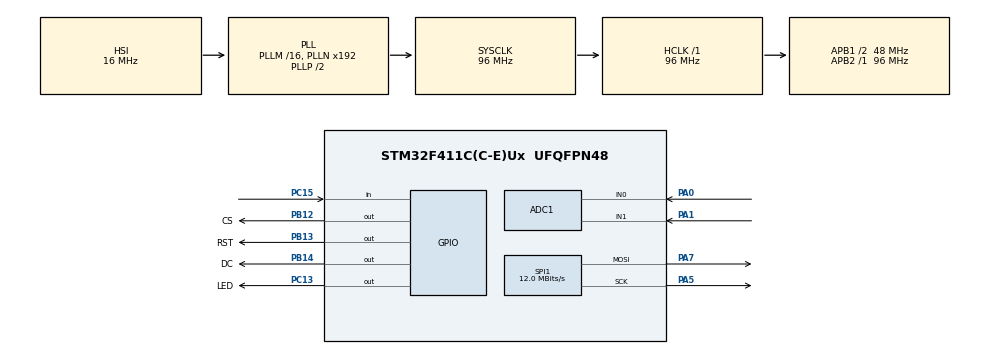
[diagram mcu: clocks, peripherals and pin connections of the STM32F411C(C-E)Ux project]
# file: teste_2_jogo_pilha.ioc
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ADC1.Channel-10\#ChannelRegularConversion=ADC_CHANNEL_1
ADC1.ContinuousConvMode=ENABLE
ADC1.DMAContinuousRequests=ENABLE
ADC1.DiscontinuousConvMode=DISABLE
ADC1.NbrOfConversion=2
ADC1.NbrOfConversionFlag=1
ADC1.Rank-10\#ChannelRegularConversion=2
ADC1.SamplingTime-10\#ChannelRegularConversion=ADC_SAMPLETIME_480CYCLES
ADC1.SamplingTime-7\#ChannelRegularConversion=ADC_SAMPLETIME_480CYCLES
ADC1.master=1
Dma.ADC1.0.Direction=DMA_PERIPH_TO_MEMORY
Dma.ADC1.0.FIFOMode=DMA_FIFOMODE_DISABLE
Dma.ADC1.0.Instance=DMA2_Stream0
Dma.ADC1.0.MemDataAlignment=DMA_MDATAALIGN_HALFWORD
Dma.ADC1.0.MemInc=DMA_MINC_ENABLE
Dma.ADC1.0.Mode=DMA_CIRCULAR
Dma.ADC1.0.PeriphDataAlignment=DMA_PDATAALIGN_HALFWORD
Dma.ADC1.0.PeriphInc=DMA_PINC_DISABLE
Dma.ADC1.0.Priority=DMA_PRIORITY_LOW
Dma.Request0=ADC1
FREERTOS.Tasks01=defaultTask,24,128,StartDefaultTask,Default,NULL,Dynamic,NULL,NULL
FREERTOS.configUSE_NEWLIB_REENTRANT=1
Mcu.Family=STM32F4
Mcu.Name=STM32F411C(C-E)Ux
Mcu.Package=UFQFPN48
NVIC.DMA2_Stream0_IRQn=true\:5\:0\:false\:false\:true\:true\:false\:true\:true
NVIC.PriorityGroup=NVIC_PRIORITYGROUP_4
NVIC.TIM4_IRQn=true\:15\:0\:false\:false\:true\:false\:false\:true\:true
NVIC.TimeBase=TIM4_IRQn
NVIC.TimeBaseIP=TIM4
PA0-WKUP.Signal=ADCx_IN0
PA1.Signal=ADCx_IN1
PA13.Mode=Serial_Wire
PA13.Signal=SYS_JTMS-SWDIO
PA14.Mode=Serial_Wire
PA14.Signal=SYS_JTCK-SWCLK
PA5.Mode=TX_Only_Simplex_Unidirect_Master
PA5.Signal=SPI1_SCK
PA7.Mode=TX_Only_Simplex_Unidirect_Master
PA7.Signal=SPI1_MOSI
PB12.GPIO_Label=CS
PB12.Signal=GPIO_Output
PB13.GPIO_Label=RST
PB13.Signal=GPIO_Output
PB14.GPIO_Label=DC
PB14.Signal=GPIO_Output
PC13-ANTI_TAMP.GPIO_Label=LED
PC13-ANTI_TAMP.Signal=GPIO_Output
PC15-OSC32_OUT.GPIO_PuPd=GPIO_PULLUP
PC15-OSC32_OUT.Signal=GPIO_Input
PH0\ -\ OSC_IN.Mode=HSE-External-Oscillator
PH0\ -\ OSC_IN.Signal=RCC_OSC_IN
PH1\ -\ OSC_OUT.Mode=HSE-External-Oscillator
PH1\ -\ OSC_OUT.Signal=RCC_OSC_OUT
ProjectManager.HeapSize=0x200
ProjectManager.StackSize=0x400
ProjectManager.TargetToolchain=STM32CubeIDE
RCC.48MHZClocksFreq_Value=48000000
RCC.AHBFreq_Value=96000000
RCC.APB1CLKDivider=RCC_HCLK_DIV2
RCC.APB1Freq_Value=48000000
RCC.APB1TimFreq_Value=96000000
RCC.APB2Freq_Value=96000000
RCC.APB2TimFreq_Value=96000000
RCC.CortexFreq_Value=96000000
RCC.HCLKFreq_Value=96000000
RCC.HSE_VALUE=25000000
RCC.HSI_VALUE=16000000
RCC.LSE_VALUE=32768
RCC.SYSCLKFreq_VALUE=96000000
RCC.SYSCLKSource=RCC_SYSCLKSOURCE_PLLCLK
RCC.VCOOutputFreq_Value=192000000
SH.ADCx_IN0.0=ADC1_IN0,IN0
SH.ADCx_IN1.0=ADC1_IN1,IN1
SPI1.BaudRatePrescaler=SPI_BAUDRATEPRESCALER_8
SPI1.CalculateBaudRate=12.0 MBits/s
SPI1.Direction=SPI_DIRECTION_2LINES
SPI1.Mode=SPI_MODE_MASTER
SPI1.VirtualType=VM_MASTER
VP_FREERTOS_VS_CMSIS_V2.Mode=CMSIS_V2
VP_SYS_VS_tim4.Mode=TIM4
board=custom

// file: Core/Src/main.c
/* USER CODE BEGIN Header */
/**
  ******************************************************************************
  * @file           : main.c
  * @brief          : LucasRoide
  */
/* USER CODE END Header */
#include "main.h"
#include "cmsis_os.h"

/* USER CODE BEGIN Includes */
#include "queue.h"
#include "semphr.h"
#include <string.h>
#include <stdlib.h>
#include "stdio.h"
#include "atraso.h"
#include "defPrincipais.h"
#include "st7735.h"
#include "PRNG_LFSR.h"
#include "st7735.h"

/* USER CODE END Includes */

/* USER CODE BEGIN PD */
#define NR_ITENS_DISPLAY 8
#define NR_CAMADAS_DISPLAY 3
#define NR_MAX_ASTEROIDE 4
#define NR_TASKS_USANDO_TEMPO 3
#define PASSO_DE_TEMPO 20                                  // em millissegundos
#define NR_MAX_ITENS_COLIDIDOS  16                        // fazer par
#define MENSAGEM_ASTEROIDE_EXPLOSAO 255
/* USER CODE END PD */

ADC_HandleTypeDef hadc1;
DMA_HandleTypeDef hdma_adc1;

SPI_HandleTypeDef hspi1;

TaskHandle_t tarefa_placar_vida;
TaskHandle_t tarefa_display;
TaskHandle_t tarefa_mov_nave;
TaskHandle_t tarefa_mov_aste;
TaskHandle_t tarefa_mov_tiro;
TaskHandle_t tarefa_contar_tempo;
TaskHandle_t tarefa_colisao;

QueueHandle_t fila_tempo;
QueueHandle_t fila_movimento;
QueueHandle_t fila_movimento_deletar;
QueueHandle_t fila_colisao;
QueueHandle_t fila_obj_Nave;
QueueHandle_t fila_obj_Tiro;
QueueHandle_t fila_obj_Asteroide;
QueueHandle_t fila_asteroide_atingido;
QueueHandle_t fila_tiro_antigiu;
QueueHandle_t fila_pontuacao;

SemaphoreHandle_t semaforo_nave_explode;
SemaphoreHandle_t semaforo_nave_bate;
SemaphoreHandle_t semaforo_nave_mudou_sprite;
SemaphoreHandle_t semaforo_jogador_ganhou_ponto;
SemaphoreHandle_t semaforo_uso_display;

/* Definitions for defaultTask */
osThreadId_t defaultTaskHandle;
const osThreadAttr_t defaultTask_attributes = {
  .name = "defaultTask",
  .stack_size = 128,
  .priority = (osPriority_t) osPriorityNormal,
};

/* USER CODE BEGIN PV */

/*
 * todas as structs usadas
 */

typedef struct {
	FigDef figura;
	int16_t posicao[2];
	int16_t pos_anterior[2];
	uint32_t cor;
	uint8_t camada;
	uint8_t id;

} display;

// enum flags fila display texto e numero
enum {
	texto,
	numero,
	texto_e_numero
};

// enum de loop de jogo
enum {
	Primeiro_Estado,
	Segundo_Estado,
	Terceiro_Estado
};

// enum de mensagens do jogo
enum {
	Nave_obj,
	Asteroide_1_obj,
	Asteroide_2_obj,
	Asteroide_3_obj,
	Asteroide_4_obj,
	Tiro_vertical_obj,
	Tiro_horizontal_obj,
	Vida_Nave_texto
};

// enum tiro posições (mudar isso porque foi uma péssima ideia fazer desse jeito!!!!)
enum {
	horizontal_positivo,
	horizontal_negativo,
	vertical_positivo,
	vertical_negativo
};

//enum basico
enum {
	falso,
	verdadeiro
};

typedef struct {
	uint8_t vida_nave;
	display Nave_display;
	uint8_t direcao;
} Nave_Struct;

// Tiro implementado com coordenadas (futuramente ajeitar, não foi melhor escolha)
typedef struct {
	uint8_t dano;
	display Tiro_display[2];  				// tiro horizontal e vertical
	uint8_t tiro_tela[2];     				// [0] -> horizontal, [1] -> vertical  | 0 ou 1

	// [0] -> horizontal, [1] -> vertical  | enum horizontal_positivo, horizontal_negativo, vertical_positivo, vertical_negativo
	uint8_t tiro_tela_direcao[2];
	// problemas ao apagar tiro da tela, não faço ideia de como resolvi, mas ta funcionando... (o problema era que não apaga na borda superior quando,
	// trocava o sentido da nave)
} Tiro_Struct;

typedef struct {
	uint8_t vida;
	uint8_t dano;
	uint8_t habilitado;
	int8_t  velocidade[2];
	display Asteroide_display;
} Asteroide_Struct;

// display zerado, usado quando se quer deletar alguma imagem da tela
display zero_tela_; // jeito de arrumar aquele problema de ficar bala no canto da tela!!!

Asteroide_Struct Asteroides[NR_MAX_ASTEROIDE];
Nave_Struct Nave;

uint16_t ADC_buffer[2];
uint16_t valor_ADC[2];

/* USER CODE END PV */

void SystemClock_Config(void);
static void MX_GPIO_Init(void);
static void MX_DMA_Init(void);
static void MX_SPI1_Init(void);
static void MX_ADC1_Init(void);
void StartDefaultTask(void *argument);

/* USER CODE BEGIN 0 */

// Função para pegar valor do buffer do joystick
void HAL_ADC_ConvCpltCallback(ADC_HandleTypeDef *hadc){
	    valor_ADC[0] = ADC_buffer[0];
		valor_ADC[1] = ADC_buffer[1];
}

// funções principais das etapas do jogo.
void TelaInicial();
uint16_t Jogar();
void Tela_de_Morte(uint16_t);

// funções auxiliares
void vTask_Placar_Vida();
void vTask_Contar_Tempo();
void Asteroide_Construtor_Basico(Asteroide_Struct *, uint8_t);

void vTask_Contar_Tempo() // Contador de tempo para controle do jogo
{
	while(1)
	{
		for (uint8_t nr_tasks = 0; nr_tasks < NR_TASKS_USANDO_TEMPO; nr_tasks++){
			xQueueSendToBack(fila_tempo,&nr_tasks,0);
		};
		vTaskDelay(PASSO_DE_TEMPO);
	}
}

void vTask_Display(void *pvParameters)
{
	display figura_em_display;
	uint8_t figura_em_display_deletar;

	BaseType_t status_imprimir_objetos;
	BaseType_t status_deletar_objetos;

	int figuras_em_tela[NR_ITENS_DISPLAY] = {0,0,0,0,0,0};
	display figuras_em_tela_display[NR_ITENS_DISPLAY] = {0};

	int16_t pos_figura_x;
	int16_t largura_figura;
	int16_t tamanho_figura_x;

	int16_t pos_figura_y;
	int16_t altura_figura;
	int16_t tamanho_figura_y;

	portTickType xLastWakeTime;
	xLastWakeTime = xTaskGetTickCount();

	while(1)
	{
		xSemaphoreTake(semaforo_uso_display,portMAX_DELAY);  // <- gambiarra para não colocar outra estrutura só para texto, "depois" arrumo
		status_imprimir_objetos = xQueueReceive(fila_movimento,&figura_em_display,0);
		status_deletar_objetos = xQueueReceive(fila_movimento_deletar,&figura_em_display_deletar,0);

		while (status_imprimir_objetos == pdPASS)
		{
			if(figuras_em_tela[figura_em_display.id] == 0)
			{
				figuras_em_tela[figura_em_display.id] = 1;
				figuras_em_tela_display[figura_em_display.id] = figura_em_display;
			}

			//apagar a anterior
			if(figura_em_display.posicao[0] < 0)
			{
				figura_em_display.posicao[0] = 0;
			}
			if(figura_em_display.posicao[1] < 0)
			{
				figura_em_display.posicao[1] = 0;
			}

			if(figura_em_display.pos_anterior[0] < 0)
			{
				figura_em_display.pos_anterior[0] = 0;
			}
			if(figura_em_display.pos_anterior[1] < 0)
			{
				figura_em_display.pos_anterior[1] = 0;
			}

			ST7735_FillRectangle((uint16_t)figura_em_display.pos_anterior[0], (uint16_t)figura_em_display.pos_anterior[1], (uint16_t)figura_em_display.figura.width, (uint16_t)figura_em_display.figura.height, ST7735_BLACK);

			ST7735_draw_figure((uint32_t)figura_em_display.posicao[0], (uint32_t)figura_em_display.posicao[1], figura_em_display.figura, figura_em_display.cor);

			// atualiza a antiga imagem do diplay
			figuras_em_tela_display[figura_em_display.id] = figura_em_display;

			pos_figura_x = figura_em_display.posicao[0];
			largura_figura = (int16_t)figura_em_display.figura.width;
			tamanho_figura_x = (pos_figura_x + largura_figura);

			pos_figura_y = figura_em_display.posicao[1];
			altura_figura = (int16_t)figura_em_display.figura.height;
			tamanho_figura_y = (pos_figura_y + altura_figura);

			for (int camada = 0; camada < NR_CAMADAS_DISPLAY; camada++){
				for (int j = 0; j < NR_ITENS_DISPLAY; j++){
					if(figuras_em_tela[j] == verdadeiro){
						if (figuras_em_tela_display[j].id == figura_em_display.id){
						} else{
							// checa colisão no eixo x INICIO
							uint8_t a = ( pos_figura_x - figuras_em_tela_display[j].posicao[0]) <= (figuras_em_tela_display[j].figura.width);
							uint8_t b = (figuras_em_tela_display[j].posicao[0]) <= (tamanho_figura_x);
							uint8_t c = 0;

							//checa colisão no eixo y INICIO
							uint8_t d = (pos_figura_y - figuras_em_tela_display[j].posicao[1]) <= (figuras_em_tela_display[j].figura.height);
							uint8_t e = (figuras_em_tela_display[j].posicao[1]) <= (tamanho_figura_y);
							uint8_t f = 0;
							if ((pos_figura_x - figuras_em_tela_display[j].posicao[0]) > 0){
								c = a;
							} else{
								c = b;
							}
							// checa colisão no eixo x FIM

							if ((pos_figura_y - figuras_em_tela_display[j].posicao[1]) > 0){
								f = d;
							} else{
								f = e;
							}
							// checa colisão no eixo y FIM
							if (c && f){ // se tem colisão entre figuras
								if(figuras_em_tela_display[j].camada == camada){
									xQueueSendToBack(fila_colisao,&(figura_em_display.id),0);
									xQueueSendToBack(fila_colisao,&(figuras_em_tela_display[j].id),0);
									ST7735_draw_figure((uint32_t)figuras_em_tela_display[j].posicao[0], (uint32_t)figuras_em_tela_display[j].posicao[1], figuras_em_tela_display[j].figura, figuras_em_tela_display[j].cor);
								}
							}
						}
					}
				}
			}
			status_imprimir_objetos = xQueueReceive(fila_movimento,&figura_em_display,0);
		}

		while (status_deletar_objetos == pdPASS){
					ST7735_FillRectangle((uint16_t)figuras_em_tela_display[figura_em_display_deletar].posicao[0], (uint16_t)figuras_em_tela_display[figura_em_display_deletar].posicao[1], (uint16_t)figuras_em_tela_display[figura_em_display_deletar].figura.width, (uint16_t)figuras_em_tela_display[figura_em_display_deletar].figura.height, ST7735_BLACK);
					figuras_em_tela[figura_em_display_deletar] = 0;
					figuras_em_tela_display[figura_em_display_deletar] = zero_tela_;
					status_deletar_objetos = xQueueReceive(fila_movimento_deletar,&figura_em_display_deletar,0);
		}
		xSemaphoreGive(semaforo_uso_display);
		vTaskDelayUntil( &xLastWakeTime,(8 / portTICK_RATE_MS));
	}
}

void vTask_Colisao(void *pvParameters){
	uint8_t obj_id_1;
	uint8_t obj_id_2;
	uint8_t mensagem_explosao = MENSAGEM_ASTEROIDE_EXPLOSAO;
	uint8_t contar_colisao = verdadeiro;
	uint8_t conta_tempo_nova_colisao_asteroide_nave = 0;
	uint8_t nr_tamanho_lista_colisao=0;

	while(xQueueReceive(fila_colisao,&obj_id_1,0) == pdPASS){

	}

	while(1){
		xQueueReceive(fila_colisao,&obj_id_1,portMAX_DELAY);
		xQueueReceive(fila_colisao,&obj_id_2,portMAX_DELAY);

		if(((obj_id_1 == Nave_obj)||(obj_id_2 == Nave_obj))&&(((obj_id_1 >= Asteroide_1_obj)&&(obj_id_1 <= Asteroide_4_obj))||((obj_id_2 >= Asteroide_1_obj)&&(obj_id_2 <= Asteroide_4_obj)))&&(contar_colisao)){
			if((obj_id_1 >= Asteroide_1_obj)&&(obj_id_1 <= Asteroide_4_obj)){
				xQueueSendToBack(fila_asteroide_atingido,&mensagem_explosao,0);
				xQueueSendToBack(fila_asteroide_atingido,&obj_id_1,0);
			}
			else if((obj_id_2 >= Asteroide_1_obj)&&(obj_id_2 <= Asteroide_4_obj)){
				xQueueSendToBack(fila_asteroide_atingido,&mensagem_explosao,0);
				xQueueSendToBack(fila_asteroide_atingido,&obj_id_2,0);
			}
			xSemaphoreGive(semaforo_nave_bate);
			contar_colisao = falso;
			while(nr_tamanho_lista_colisao < NR_MAX_ITENS_COLIDIDOS){
				xQueueReceive(fila_colisao,&obj_id_1,0);
				xQueueReceive(fila_colisao,&obj_id_2,0);
				if(((obj_id_1 == Nave_obj)||(obj_id_2 == Nave_obj))&&(((obj_id_1 >= Asteroide_1_obj)&&(obj_id_1 <= Asteroide_4_obj))||((obj_id_2 >= Asteroide_1_obj)&&(obj_id_2 <= Asteroide_4_obj)))&&(contar_colisao)){

				}
				else{
					xQueueSendToBack(fila_colisao,&obj_id_1,0);
					xQueueSendToBack(fila_colisao,&obj_id_2,0);
				}
				nr_tamanho_lista_colisao++;
			}
			nr_tamanho_lista_colisao = 0;
		}

		if(((obj_id_2 == Tiro_vertical_obj)|(obj_id_1 == Tiro_horizontal_obj)||(obj_id_1 == Tiro_vertical_obj)||(obj_id_2 == Tiro_horizontal_obj))&&(((obj_id_1 >= Asteroide_1_obj)&&(obj_id_1 <= Asteroide_4_obj))||((obj_id_2 >= Asteroide_1_obj)&&(obj_id_2 <= Asteroide_4_obj)))){
			xSemaphoreGive(semaforo_jogador_ganhou_ponto);
			if((obj_id_2 == Tiro_vertical_obj)||(obj_id_2 == Tiro_horizontal_obj)){
				xQueueSendToBack(fila_tiro_antigiu,&obj_id_2,0);
			} else{
				xQueueSendToBack(fila_asteroide_atingido,&obj_id_2,0);
			}
			if((obj_id_1 == Tiro_vertical_obj)||(obj_id_1 == Tiro_horizontal_obj)){
				xQueueSendToBack(fila_tiro_antigiu,&obj_id_1,0);
			} else{
				xQueueSendToBack(fila_asteroide_atingido,&obj_id_1,0);
			}
			while(nr_tamanho_lista_colisao < NR_MAX_ITENS_COLIDIDOS){ //teste inicio
				xQueueReceive(fila_colisao,&obj_id_1,0);
				xQueueReceive(fila_colisao,&obj_id_2,0);
				if(((obj_id_2 == Tiro_vertical_obj)|(obj_id_1 == Tiro_horizontal_obj)||(obj_id_1 == Tiro_vertical_obj)||(obj_id_2 == Tiro_horizontal_obj))&&(((obj_id_1 >= 1)&&(obj_id_1 <= 4))||((obj_id_2 >= 1)&&(obj_id_2 <= 4)))&&(contar_colisao)){

				}
				else{
					xQueueSendToBack(fila_colisao,&obj_id_1,0);
					xQueueSendToBack(fila_colisao,&obj_id_2,0);
				}
				nr_tamanho_lista_colisao++;
			}
			nr_tamanho_lista_colisao = 0;
		} //teste fim

		// cronômetro para a próxima ação de colisão
		xQueueReceive(fila_tempo,&obj_id_1,portMAX_DELAY);
		conta_tempo_nova_colisao_asteroide_nave++;
		if(conta_tempo_nova_colisao_asteroide_nave == 30){
			conta_tempo_nova_colisao_asteroide_nave = 0;
			contar_colisao = verdadeiro;
		}
	}

}

void vTask_Nave_Mover(void *pvParameters)
{
	uint8_t x = Nave.Nave_display.posicao[0];
	uint8_t y = Nave.Nave_display.posicao[1];
	uint32_t dif_eixoX;
	uint32_t dif_eixoY;
	uint8_t enviar = 0;

	xQueueSendToBack(fila_movimento, &(Nave.Nave_display), portMAX_DELAY);

	while(1)
	{

		dif_eixoX = (1<<12) - valor_ADC[1];// media_eixoX;
		dif_eixoY = (1<<12) - valor_ADC[0];//media_eixoY;

		Nave.Nave_display.pos_anterior[0] = x;
		Nave.Nave_display.pos_anterior[1] = y;

		if(dif_eixoX < 1800)   // aprox. 200 de segurança
		{
			if(x>=0)
			{
				x--;
				Nave.Nave_display.figura = tela_nave_180;
				Nave.direcao = horizontal_negativo;
			}
			if (x<=0)
			{
				x = 150;
			}
			enviar = 1;
		}
		else if(dif_eixoX > 3800)
		{
			if(x<=150)
			{
				x++;
				Nave.Nave_display.figura  = tela_nave_0;
				Nave.direcao = horizontal_positivo;
			}
			if(x>=151)
			{
				x = 0;
			}
			enviar = 1;
		}
		if(dif_eixoY < 1800)
		{
			if(y>0)
			{
				y--;
				Nave.Nave_display.figura  = tela_nave_90;
				Nave.direcao = vertical_negativo;
			}
			if (y<=0)
			{
				y = 119;
			}
			enviar = 1;
		}
		else if(dif_eixoY > 3800)
		{
			if(y<=121)
			{
				y++;
				Nave.Nave_display.figura  = tela_nave_270;
				Nave.direcao = vertical_positivo;
			}
			if(y>=120)
			{
				y = 0;
			}
			enviar = 1;
		}

		Nave.Nave_display.posicao[0] = x;
		Nave.Nave_display.posicao[1] = y;

		if(enviar)
		{
			xQueueSendToBack(fila_movimento, &(Nave.Nave_display), portMAX_DELAY);
		}
		enviar = 0;

		vTaskDelay(20);
	}
}

void vTask_Asteroide_Mover(void *pvParameters)
{
	uint16_t nr_aleatorio = 0;
	BaseType_t status_fila_tempo;
	BaseType_t status_fila_atingido;
	uint16_t tempo = 0;
	uint8_t id_asteroide;

	//Verificar colisao
	uint8_t asteroide_colidido;

	// valores INICIO
	uint8_t posicao_x;
	uint8_t posicao_y;
	int8_t velocidade_x;
	int8_t velocidade_y;
	FigDef figura;

	//importante, cópia dos asteroides para muda-los de posição.
	Asteroide_Struct asteroide_vtask[NR_MAX_ASTEROIDE];

	xQueueReceive(fila_obj_Asteroide, &asteroide_vtask, portMAX_DELAY);

	xQueueSendToBack(fila_movimento, &(asteroide_vtask[0]), portMAX_DELAY);
	xQueueSendToBack(fila_movimento, &(asteroide_vtask[1]), portMAX_DELAY);
	xQueueSendToBack(fila_movimento, &(asteroide_vtask[2]), portMAX_DELAY);
	xQueueSendToBack(fila_movimento, &(asteroide_vtask[3]), portMAX_DELAY);

	while(1)
	{
		status_fila_atingido = xQueueReceive(fila_asteroide_atingido,&asteroide_colidido,0);
		if(status_fila_atingido == pdPASS){
			if(asteroide_colidido == MENSAGEM_ASTEROIDE_EXPLOSAO){ //debug
				xQueueReceive(fila_asteroide_atingido,&asteroide_colidido,portMAX_DELAY);
				asteroide_vtask[asteroide_colidido - 1].vida = 1;
			}

			asteroide_vtask[asteroide_colidido - 1].vida = asteroide_vtask[asteroide_colidido - 1].vida - 1;
			if(asteroide_vtask[asteroide_colidido - 1].vida == 1<<8){
				asteroide_vtask[asteroide_colidido - 1].vida = 0;
			}
			if (asteroide_vtask[asteroide_colidido - 1].vida == 0){
				asteroide_vtask[asteroide_colidido - 1].habilitado = 0; // o -1 se deve porque o id dos asteroides começa depois do id da nave e no vetor de asteroides eles começam do 0
				id_asteroide = asteroide_vtask[asteroide_colidido - 1].Asteroide_display.id;
				xQueueSendToBack(fila_movimento_deletar,&(id_asteroide),portMAX_DELAY);
			}
		}

		status_fila_tempo = xQueueReceive(fila_tempo,&(nr_aleatorio),0); 	// recebe um tick de tempo
		if (status_fila_tempo == pdPASS){
			tempo++;
		}

		if(tempo == 10){ 													// a cada 20 segundos habilita um novo asteroide
			tempo = 0; 														// reset
			for (uint8_t i = 0; i< NR_MAX_ASTEROIDE; i++) {					// checa todos os asteroides

				if (asteroide_vtask[i].habilitado == 0) { // se nao tiver criado ainda
					Asteroide_Construtor_Basico(&(asteroide_vtask[i]),i+Asteroide_1_obj);
					asteroide_vtask[i].habilitado = 1;						// habilita-o

					// Valores da nave atual (ADC), para criar um novo asteroide.
					nr_aleatorio = valor_ADC[0]*10 - valor_ADC[1]*7;
					if(nr_aleatorio < 0){
						nr_aleatorio = (valor_ADC[1] - valor_ADC[0])*13;
					}

					/*
					 * valores aleatórios para criação de um novo asteroide.
					 *
					 * Problema!!! -> Caso a nave se manter parada, os asteroides vao sair do mesmo ponto!!! (Arrumar se quiser)
					 */
					switch(nr_aleatorio%4){
						case(horizontal_positivo):
							posicao_x = 159;
							posicao_y = nr_aleatorio%128;
							velocidade_x = nr_aleatorio%2 - 2;
							velocidade_y = nr_aleatorio%3 - 1;
							figura = tela_asteroide_1;
							break;
						case(horizontal_negativo):
							posicao_x = 2;
							posicao_y = nr_aleatorio%128;
							velocidade_x = nr_aleatorio%2;
							velocidade_y = nr_aleatorio%3 - 1;
							figura = tela_asteroide_2;
							break;
						case(vertical_positivo):
							posicao_x = nr_aleatorio%160;
							posicao_y = 124;
							velocidade_x = nr_aleatorio%3 - 1;
							velocidade_y = nr_aleatorio%2 - 2;
							figura = tela_asteroide_2;
							break;
						case(vertical_negativo):
							posicao_x = nr_aleatorio%160;
							posicao_y = 2;
							velocidade_x = nr_aleatorio%3 - 1;
							velocidade_y = nr_aleatorio%3;
							figura = tela_asteroide_4;
							break;
						default:
							posicao_x = 3;
							posicao_y = 120;
							velocidade_x = 1;
							velocidade_y = -2;
							figura = tela_asteroide_4;
							break;
					}
					// definindo valores do asteroide
					asteroide_vtask[i].Asteroide_display.figura = figura;
					asteroide_vtask[i].Asteroide_display.posicao[0] = posicao_x;
					asteroide_vtask[i].Asteroide_display.posicao[1] = posicao_y;
					asteroide_vtask[i].Asteroide_display.pos_anterior[0] = posicao_x;
					asteroide_vtask[i].Asteroide_display.pos_anterior[0] = posicao_y;
					asteroide_vtask[i].velocidade[0] = velocidade_x;
					asteroide_vtask[i].velocidade[1] = velocidade_y;
					break;
				}
			}
		}

		// parte de movimentar os asteroides

		for(uint8_t i = 0; i< NR_MAX_ASTEROIDE; i++)
		{

			if(asteroide_vtask[i].habilitado)
			{
				asteroide_vtask[i].Asteroide_display.pos_anterior[0] = asteroide_vtask[i].Asteroide_display.posicao[0];
				asteroide_vtask[i].Asteroide_display.pos_anterior[1] = asteroide_vtask[i].Asteroide_display.posicao[1];
				asteroide_vtask[i].Asteroide_display.posicao[0] = asteroide_vtask[i].Asteroide_display.posicao[0] + asteroide_vtask[i].velocidade[0];
				asteroide_vtask[i].Asteroide_display.posicao[1] = asteroide_vtask[i].Asteroide_display.posicao[1] + asteroide_vtask[i].velocidade[1];

				if ((asteroide_vtask[i].Asteroide_display.posicao[0]  >= 148) || (asteroide_vtask[i].Asteroide_display.posicao[0]  <= 2)|| (asteroide_vtask[i].Asteroide_display.posicao[1] >= 124)||(asteroide_vtask[i].Asteroide_display.posicao[1] <= 2))
				{
					asteroide_vtask[i].habilitado = 0;
					id_asteroide = i + Asteroide_1_obj;
					xQueueSendToBack(fila_movimento_deletar,&(id_asteroide),portMAX_DELAY);
				}
				else
				{
					xQueueSendToBack(fila_movimento,&(asteroide_vtask[i].Asteroide_display),portMAX_DELAY);
				}
			}
		}
		vTaskDelay(250);
	}
}

// gera os asteroides e qual a figura deles

void Asteroide_Construtor_Basico(Asteroide_Struct *asteroide, uint8_t obj_id)
{
	switch (obj_id) // tem que ser os mesmos ids anteriormente definidos
	{
		case (Asteroide_1_obj):
			asteroide->Asteroide_display.figura = tela_asteroide_1;
			asteroide->Asteroide_display.id = Asteroide_1_obj;
			//asteroide->Asteroide_display.cor = ST7735_CYAN;
			break;
		case (Asteroide_2_obj):
			asteroide->Asteroide_display.figura = tela_asteroide_2;
			asteroide->Asteroide_display.id = Asteroide_2_obj;
			//asteroide->Asteroide_display.cor = ST7735_BLUE;
			break;
		case (Asteroide_4_obj):
			asteroide->Asteroide_display.figura = tela_asteroide_4;
			asteroide->Asteroide_display.id = Asteroide_4_obj;
			//asteroide->Asteroide_display.cor = ST7735_WHITE;
			break;
	}

	asteroide->Asteroide_display.cor = ST7735_WHITE;
	asteroide->Asteroide_display.camada = 0;
	asteroide->Asteroide_display.pos_anterior[0] = 0;
	asteroide->Asteroide_display.pos_anterior[1] = 0;
	asteroide->Asteroide_display.posicao[0] = 0;
	asteroide->Asteroide_display.posicao[1] = 0;
	asteroide->velocidade[0] = 2;
	asteroide->velocidade[1] = 2;
	asteroide->dano = 2;
	asteroide->habilitado = 0;
	asteroide->vida = 2;
}

/*
 * Task de tiro, tava dando problema, mas adicionei uma fila de tempo e vTaskDelay(14), parou de ficar tiro na tela (Não da de entender!!!!)
 */
void vTask_Tiro(void *pvParameter) {
	Tiro_Struct Tiro;

	xQueueReceive(fila_obj_Tiro, &Tiro, portMAX_DELAY);

	uint8_t obj_tiro; // id para tiro excluido da tela
	BaseType_t status_fila_tiro_atingiu;

	// caracteristicas do tiro
	uint8_t tempo_tiro_x = 0;
	uint8_t tempo_tiro_y = 0;
	uint8_t tiro_tela_x = 0;
	uint8_t tiro_tela_y = 0;
	uint8_t direcao_tiro;

	BaseType_t status_fila_tempo;

	uint8_t x_tiro_horizontal = Tiro.Tiro_display[0].posicao[0];
	uint8_t y_tiro_horizontal = Tiro.Tiro_display[0].posicao[1];

	uint8_t x_tiro_vertical = Tiro.Tiro_display[1].posicao[0];
	uint8_t y_tiro_vertical = Tiro.Tiro_display[1].posicao[1];

	xQueueSendToBack(fila_movimento, &(Tiro.Tiro_display[0]), portMAX_DELAY);
	xQueueSendToBack(fila_movimento, &(Tiro.Tiro_display[1]), portMAX_DELAY);

	while (1) {
		status_fila_tiro_atingiu = xQueueReceive(fila_tiro_antigiu, &obj_tiro, 0);
		if (status_fila_tiro_atingiu == pdPASS) {
			if (obj_tiro == Tiro_horizontal_obj) {
				Tiro.tiro_tela[0] = 0;
			} else {
				Tiro.tiro_tela[1] = 0;
			}
			xQueueSendToBack(fila_movimento_deletar, &(obj_tiro), portMAX_DELAY);
		}

		tiro_tela_x = Tiro.tiro_tela[0];
		tiro_tela_y = Tiro.tiro_tela[1];

		if (tiro_tela_x || tiro_tela_y) {
			if (tiro_tela_x) {
				switch (Tiro.tiro_tela_direcao[0]) {
					case (horizontal_positivo): {
						Tiro.Tiro_display[0].pos_anterior[0] = x_tiro_horizontal;
						x_tiro_horizontal = x_tiro_horizontal + 1;
						Tiro.Tiro_display[0].posicao[0] = x_tiro_horizontal;
						if (x_tiro_horizontal >= 159) {
							Tiro.tiro_tela[0] = 0;
						} else {
							xQueueSendToBack(fila_movimento, &(Tiro.Tiro_display[0]), portMAX_DELAY);
						}
						break;
					}
					case (horizontal_negativo): {
						Tiro.Tiro_display[0].pos_anterior[0] = x_tiro_horizontal;
						x_tiro_horizontal = x_tiro_horizontal - 1;
						Tiro.Tiro_display[0].posicao[0] = x_tiro_horizontal;
						if (x_tiro_horizontal <= 0) {
							Tiro.tiro_tela[0] = 0;
							obj_tiro = Tiro.Tiro_display[0].id;
							xQueueSendToBack(fila_movimento_deletar, &(obj_tiro), portMAX_DELAY);
						} else {
							xQueueSendToBack(fila_movimento, &(Tiro.Tiro_display[0]), portMAX_DELAY);
						}
						break;
					}
				}
			}
			if (tiro_tela_y) {
				switch (Tiro.tiro_tela_direcao[1]) {
					case (vertical_positivo): {
						Tiro.Tiro_display[1].pos_anterior[1] = y_tiro_vertical;
						y_tiro_vertical = y_tiro_vertical + 1;
						Tiro.Tiro_display[1].posicao[1] = y_tiro_vertical;
						if (y_tiro_vertical == 160) {
							Tiro.tiro_tela[1] = 0;
						} else {
							xQueueSendToBack(fila_movimento, &(Tiro.Tiro_display[1]), portMAX_DELAY);
						}
						break;
					}
					case (vertical_negativo): {
						Tiro.Tiro_display[1].pos_anterior[1] = y_tiro_vertical;
						y_tiro_vertical = y_tiro_vertical - 1;
						Tiro.Tiro_display[1].posicao[1] = y_tiro_vertical;
						if (y_tiro_vertical == 0) {
							Tiro.tiro_tela[1] = 0;
							obj_tiro = Tiro.Tiro_display[1].id;
							xQueueSendToBack(fila_movimento_deletar, &(obj_tiro), portMAX_DELAY);
						} else {
							xQueueSendToBack(fila_movimento, &(Tiro.Tiro_display[1]), portMAX_DELAY);
						}
						break;
					}
				}
			}
		} else {
			status_fila_tempo = xQueueReceive(fila_tempo, &(x_tiro_horizontal), 0);  // recebe um tick de tempo
			if (status_fila_tempo == pdPASS) {
				tempo_tiro_x++;
				tempo_tiro_y++;
			}

			if (tempo_tiro_x == 20) {  // 200
				tempo_tiro_x = 0;
				direcao_tiro = Nave.direcao;
				switch (direcao_tiro) {
					case (horizontal_positivo): {
						Tiro.tiro_tela[0] = 1;
						Tiro.tiro_tela_direcao[0] = horizontal_positivo;
						x_tiro_horizontal = Nave.Nave_display.posicao[0] + 18;
						y_tiro_horizontal = Nave.Nave_display.posicao[1] + 5;
						Tiro.Tiro_display[0].posicao[1] = y_tiro_horizontal;
						Tiro.Tiro_display[0].pos_anterior[1] = y_tiro_horizontal;
						break;
					}
					case (horizontal_negativo): {
						Tiro.tiro_tela[0] = 1;
						Tiro.tiro_tela_direcao[0] = horizontal_negativo;
						x_tiro_horizontal = Nave.Nave_display.posicao[0] - 6;
						y_tiro_horizontal = Nave.Nave_display.posicao[1] + 5;
						Tiro.Tiro_display[0].posicao[1] = y_tiro_horizontal;
						Tiro.Tiro_display[0].pos_anterior[1] = y_tiro_horizontal;
						break;
					}
					case (vertical_positivo): {
						Tiro.tiro_tela[1] = 1;
						Tiro.tiro_tela_direcao[1] = vertical_positivo;
						x_tiro_vertical = Nave.Nave_display.posicao[0] + 5;
						y_tiro_vertical = Nave.Nave_display.posicao[1] + 18;
						Tiro.Tiro_display[1].posicao[0] = x_tiro_vertical;
						Tiro.Tiro_display[1].pos_anterior[0] = x_tiro_vertical;
						break;
					}
					case (vertical_negativo): {
						Tiro.tiro_tela[1] = 1;
						Tiro.tiro_tela_direcao[1] = vertical_negativo;
						x_tiro_vertical = Nave.Nave_display.posicao[0] + 5;
						y_tiro_vertical = Nave.Nave_display.posicao[1] - 9;
						Tiro.Tiro_display[1].posicao[0] = x_tiro_vertical;
						Tiro.Tiro_display[1].pos_anterior[0] = x_tiro_vertical;
						break;
					}
				}
			}
		}
		vTaskDelay(14);
	}
}

/*
 * Problema aqui.
 * só começa a contar pontuação e a vida quando a primeira colisão da nave acontece!! (Ajeitar)
 */
void vTask_Placar_Vida()
{
	BaseType_t status_semaforo_jogador_ganhou_ponto;
	BaseType_t status_semaforo_nave_bate;
	uint8_t pontuacao;
	uint8_t vivo;

	//ST7735_WriteString(0, 0,"Vida:", Font_7x10, ST7735_WHITE, ST7735_BLACK);
	//ST7735_write_nr(40, 0, Nave.vida_nave, Font_7x10, ST7735_WHITE, ST7735_BLACK);

	status_semaforo_nave_bate = xSemaphoreTake(semaforo_nave_bate,portMAX_DELAY);

	while(1)
	{
		Nave.vida_nave = 2;
		pontuacao = 0;
		vivo = verdadeiro;

		while(vivo)
		{
			ST7735_WriteString(0, 0,"Vida:", Font_7x10, ST7735_WHITE, ST7735_BLACK);
			ST7735_write_nr(40, 0, Nave.vida_nave, Font_7x10, ST7735_WHITE, ST7735_BLACK);
			//ST7735_WriteString(0, 25,"Placar:   ", Font_7x10, ST7735_WHITE, ST7735_BLACK);
			ST7735_write_nr(0, 150, pontuacao, Font_7x10, ST7735_WHITE, ST7735_BLACK);
			xSemaphoreTake(semaforo_uso_display,portMAX_DELAY);
			status_semaforo_jogador_ganhou_ponto = xSemaphoreTake(semaforo_jogador_ganhou_ponto,0);
			if(status_semaforo_jogador_ganhou_ponto == pdPASS)
			{
				pontuacao++;
			}

			// aqui, colocar um semáforo para uma função que ve uma colisão de nave e asteroide (Ajustada!!!)
			status_semaforo_nave_bate = xSemaphoreTake(semaforo_nave_bate,0);
			if (status_semaforo_nave_bate ==pdPASS)
			{
				Nave.vida_nave--;

			}
			//ST7735_WriteString(0, 0,"Vida: ", Font_7x10, ST7735_WHITE, ST7735_BLACK);
			//ST7735_write_nr(63, 0, Nave.vida_nave, Font_7x10, ST7735_WHITE, ST7735_BLACK);
			if (Nave.vida_nave  == 0)
			{
				//xQueueSendToFront(fila_mensagens,&mensagens_enviar,portMAX_DELAY);
				xQueueSendToBack(fila_pontuacao, &pontuacao,portMAX_DELAY);
				xSemaphoreGive(semaforo_nave_explode);
				vivo = falso;
			}
			xSemaphoreGive(semaforo_uso_display); //<- a fazer certo, por agora só gambiarra
			vTaskDelay(300);
		}
	}
}

/*
 * Aqui será desenvolvido a maquina de estados do jogo (tela inicial -> jogo -> Tela final)
 */

// Loop principal do jogo, aqui é controlado todos os 3 estados.
void vTask_Loop_Jogo(void *pvPrameters)
{
	uint8_t estado = Primeiro_Estado;
	uint8_t placar;

	vTaskSuspend(tarefa_placar_vida);
	vTaskSuspend(tarefa_display);
	vTaskSuspend(tarefa_mov_nave);

	while(1)
	{
		switch(estado)
		{
			case Primeiro_Estado:
				TelaInicial();
				estado = Segundo_Estado;
				break;
			case Segundo_Estado:
				placar = Jogar();
				estado = Terceiro_Estado;
				break;
			case Terceiro_Estado:
				Tela_de_Morte(placar);
				estado = Primeiro_Estado;
				  //while(HAL_GPIO_ReadPin(GPIOC, GPIO_PIN_15)){
					  //ST7735_FillScreen(ST7735_BLACK);
					//  estado = Primeiro_Estado;
				  //}

				//estado = Primeiro_Estado;
				break;
			default:
				ST7735_WriteString(48, 59,"Nao era pra passar aqui (BUG)", Font_7x10, ST7735_RED, ST7735_BLACK);
				vTaskDelay(portMAX_DELAY);
		}

	}
}

// Figura da tela inicial do jogo LucasRoide
void TelaInicial()
{
	ST7735_draw_figure(18, 9, tela_asteroide_1 , ST7735_WHITE); 				// 1
	ST7735_draw_figure(112, 9, tela_asteroide_4 , ST7735_WHITE);				// 2
	ST7735_draw_figure(0, 46, tela_inicial_figura2, ST7735_WHITE);				// meio
	ST7735_draw_figure(18, 88, tela_asteroide_4 , ST7735_WHITE);				// 4
	ST7735_draw_figure(112, 88, tela_asteroide_1 , ST7735_WHITE);				// 1

	vTaskDelay(5000);
}

uint16_t Jogar()
{
	uint16_t placar = 0;

	Nave.vida_nave = 2;

	Nave.Nave_display.camada = 1;
	Nave.Nave_display.cor = ST7735_WHITE;
	Nave.Nave_display.id = Nave_obj;

	Nave.Nave_display.figura = tela_nave_0;
	Nave.Nave_display.pos_anterior[0] = 0;
	Nave.Nave_display.pos_anterior[1] = 0;
	Nave.Nave_display.posicao[0] = (160 - Nave.Nave_display.figura.width)/2;
	Nave.Nave_display.posicao[1] = (128 - Nave.Nave_display.figura.height)/2;
	//Nave FIM

	//Tiro INICIO
	Tiro_Struct Tiro;

	Tiro.dano = 1;

	Tiro.tiro_tela[0] = 0;
	Tiro.tiro_tela[1] = 0;
	Tiro.tiro_tela_direcao[0] = 0;
	Tiro.tiro_tela_direcao[1] = 0;

	Tiro.Tiro_display[0].camada = 0;
	Tiro.Tiro_display[0].cor = ST7735_GREEN;
	Tiro.Tiro_display[0].figura = tela_tiro;
	Tiro.Tiro_display[0].id = Tiro_horizontal_obj;
	Tiro.Tiro_display[0].pos_anterior[0] = 0;
	Tiro.Tiro_display[0].pos_anterior[1] = 0;
	Tiro.Tiro_display[0].posicao[0] = 0;
	Tiro.Tiro_display[0].posicao[1] = 0;

	Tiro.Tiro_display[1].camada = 0;
	Tiro.Tiro_display[1].cor = ST7735_GREEN;
	Tiro.Tiro_display[1].figura = tela_tiro;
	Tiro.Tiro_display[1].id = Tiro_vertical_obj;
	Tiro.Tiro_display[1].pos_anterior[0] = 0;
	Tiro.Tiro_display[1].pos_anterior[1] = 0;
	Tiro.Tiro_display[1].posicao[0] = 0;
	Tiro.Tiro_display[1].posicao[1] = 0;

	xQueueSendToBack(fila_obj_Tiro,&Tiro,0);
	//Tiro FIM

	// Asteroide INICIO
	Asteroide_Struct Asteroide[NR_MAX_ASTEROIDE];

	Asteroide_Construtor_Basico(&(Asteroide[0]), Asteroide_1_obj);
	Asteroide_Construtor_Basico(&(Asteroide[1]), Asteroide_2_obj);
	Asteroide_Construtor_Basico(&(Asteroide[2]), Asteroide_3_obj);
	Asteroide_Construtor_Basico(&(Asteroide[3]), Asteroide_4_obj);

	xQueueSendToBack(fila_obj_Asteroide,&Asteroide,0);
	// Asteroide FIM

	ST7735_FillRectangle(18, 9, 130, 33, ST7735_BLACK);
	ST7735_FillRectangle(0, 46, 160, 33, ST7735_BLACK);
	ST7735_FillRectangle(18,88, 130, 33, ST7735_BLACK);

	vTaskResume(tarefa_mov_nave);
	vTaskResume(tarefa_placar_vida);
	vTaskResume(tarefa_display);

	xQueueReceive(fila_pontuacao,&placar,portMAX_DELAY);
	xSemaphoreTake(semaforo_nave_explode,portMAX_DELAY);

	vTaskSuspend(tarefa_display);
	vTaskSuspend(tarefa_placar_vida);
	vTaskSuspend(tarefa_mov_nave);

	vTaskDelay(500);

	return placar;
}

void Tela_de_Morte(uint16_t placar)
{
	ST7735_FillScreen(ST7735_BLACK);
	ST7735_FillRectangle(0, 45, 160, 14, ST7735_BLACK);
	ST7735_draw_horizontal_line(0,160,45,ST7735_WHITE);
	vTaskDelay(500);
	ST7735_WriteString(52, 48,"GAME OVER", Font_7x10, ST7735_WHITE, ST7735_BLACK);
	vTaskDelay(500);
	ST7735_draw_horizontal_line(0,160,59,ST7735_WHITE);
	ST7735_WriteString(12, 25,"Placar:   ", Font_7x10, ST7735_WHITE, ST7735_BLACK);
	ST7735_write_nr(68, 25, placar, Font_7x10, ST7735_WHITE, ST7735_BLACK);
	ST7735_draw_figure(0, 65, tela_inicial_figura2, ST7735_WHITE);

	vTaskDelay(500);
	ST7735_WriteString(15, 110,"Press to Play Again", Font_7x10, ST7735_WHITE, ST7735_BLACK);

	while(HAL_GPIO_ReadPin(GPIOC, GPIO_PIN_15))
	{

	};
	ST7735_FillScreen(ST7735_BLACK);
}
//---------------------------------------------------------------------------------------------------

/* USER CODE END 0 */

int main(void)
{

  /* MCU Configuration--------------------------------------------------------*/

  /* Reset of all peripherals, Initializes the Flash interface and the Systick. */
  HAL_Init();

  /* Configure the system clock */
  SystemClock_Config();

  /* Initialize all configured peripherals */
  MX_GPIO_Init();
  MX_DMA_Init();
  MX_SPI1_Init();
  MX_ADC1_Init();
  /* USER CODE BEGIN 2 */

	// inicializa LCD

  HAL_Delay(100);
  ST7735_Init();

  ST7735_FillScreen(ST7735_BLACK);

  // --------------------------------------------------------------------------------------

   HAL_ADC_Start_DMA(&hadc1,(uint32_t*)ADC_buffer,2);

  /* USER CODE END 2 */

  /* Init scheduler */
  osKernelInitialize();

  /* USER CODE BEGIN RTOS_SEMAPHORES */
  /* add semaphores, ... */
  vSemaphoreCreateBinary(semaforo_nave_explode);
  xSemaphoreTake(semaforo_nave_explode,0);

  vSemaphoreCreateBinary(semaforo_nave_bate);
  xSemaphoreTake(semaforo_nave_bate,0);

  vSemaphoreCreateBinary(semaforo_nave_mudou_sprite);
  xSemaphoreTake(semaforo_nave_mudou_sprite, 0);

  vSemaphoreCreateBinary(semaforo_jogador_ganhou_ponto);
  xSemaphoreTake(semaforo_jogador_ganhou_ponto,0);

  vSemaphoreCreateBinary(semaforo_uso_display);

  /* USER CODE END RTOS_SEMAPHORES */

  /* USER CODE BEGIN RTOS_QUEUES */
  fila_tempo = xQueueCreate(NR_TASKS_USANDO_TEMPO, sizeof(uint8_t)); //tempo só funciona para funçoes round-and-robin
  fila_movimento = xQueueCreate(8, sizeof(display));
  fila_movimento_deletar = xQueueCreate(8,sizeof(uint8_t)); // id do item deletado
  //fila_movimento_texto_numero = xQueueCreate(1,sizeof(display_txt_nr)); // <-- aqui <- a fazer certo, por agora só gambiarra
  fila_colisao = xQueueCreate(NR_MAX_ITENS_COLIDIDOS,sizeof(uint8_t));
  fila_obj_Tiro = xQueueCreate(1,sizeof(Tiro_Struct));
  fila_obj_Asteroide = xQueueCreate(1,sizeof(Asteroide_Struct)*NR_MAX_ASTEROIDE);
  fila_asteroide_atingido = xQueueCreate(2,sizeof(uint8_t));
  fila_tiro_antigiu = xQueueCreate(1,sizeof(uint8_t));
  fila_pontuacao = xQueueCreate(1,sizeof(uint8_t));

  // filas objetos ...
  /* add queues, ... */
  /* USER CODE END RTOS_QUEUES */

  /* Create the thread(s) */
  /* creation of defaultTask */

  /* USER CODE BEGIN RTOS_THREADS */
  /* add threads, ... */

  BaseType_t status_placar_vida;
  BaseType_t status_display;
  BaseType_t status_loop_jogo;
  BaseType_t status_movimento_nave;
  BaseType_t status_movimento_tiro;
  BaseType_t status_movimento_asteroide;
  BaseType_t status_contar_tempo;
  BaseType_t status_colisao;

  	//-----------------------------------------------------------------------------------------//
  	//                              Tarefas Asteroides
    //-----------------------------------------------------------------------------------------//

  // unica task que tem maior prioridade, para printar tudo na tela. (se deixar prioridade igual da problema!!!)
	status_display = xTaskCreate(vTask_Display, "Display com Fila", 1024, NULL, osPriorityAboveNormal2, &tarefa_display);

	status_loop_jogo = xTaskCreate(vTask_Loop_Jogo, "Loop_de_jogo", 1024, NULL, osPriorityAboveNormal1, NULL);

    status_placar_vida = xTaskCreate(vTask_Placar_Vida, "Placar Vida", 128, NULL, osPriorityAboveNormal, &tarefa_placar_vida);

	status_movimento_asteroide = xTaskCreate(vTask_Asteroide_Mover, "mov. ast.", 128, NULL, osPriorityNormal, &tarefa_mov_aste);

	status_movimento_nave = xTaskCreate(vTask_Nave_Mover, "mov. nav.", 128, NULL, osPriorityNormal, &tarefa_mov_nave);

	status_colisao = xTaskCreate(vTask_Colisao, "coli", 128, NULL, osPriorityNormal, &tarefa_colisao);

	status_movimento_tiro = xTaskCreate(vTask_Tiro, "mov. tiro", 128, NULL, osPriorityNormal, &tarefa_mov_tiro);

	status_contar_tempo = xTaskCreate(vTask_Contar_Tempo, "tempo tir.", 128, NULL, osPriorityNormal, &tarefa_contar_tempo);

	// flags para debug
	if (status_placar_vida != pdTRUE)
	{
		ST7735_WriteString(0, 0,"Deu Merda Placar.", Font_7x10, ST7735_RED, ST7735_BLACK);
	}
	if (status_display != pdTRUE)
	{
		ST7735_WriteString(0, 24,"Deu Merda Display.", Font_7x10, ST7735_RED, ST7735_BLACK);
	}
	if (status_movimento_asteroide != pdTRUE)
	{
		ST7735_WriteString(0, 36,"Deu Merda Asteroide.", Font_7x10, ST7735_RED, ST7735_BLACK);
	}
	if (status_movimento_nave != pdTRUE)
	{
		ST7735_WriteString(0, 48,"Deu Merda Navo.", Font_7x10, ST7735_RED, ST7735_BLACK);
	}
	if (status_movimento_tiro != pdTRUE)
	{
		ST7735_WriteString(0, 60,"Deu Merda Tiro.", Font_7x10, ST7735_RED, ST7735_BLACK);
	}
	if(status_contar_tempo != pdTRUE)
	{
		ST7735_WriteString(0, 72,"Deu Merda Tempo.", Font_7x10, ST7735_RED, ST7735_BLACK);
	}
	if (status_loop_jogo != pdTRUE)
	{
		ST7735_WriteString(0, 84,"Deu Merda Jogo.", Font_7x10, ST7735_RED, ST7735_BLACK);
	}
	if (status_colisao != pdTRUE)
	{
		ST7735_WriteString(0, 84,"Deu Merda Colisao.", Font_7x10, ST7735_RED, ST7735_BLACK);
	}

    // se não tiver memória disponível o led azul do stm não pisca
    defaultTaskHandle = osThreadNew(StartDefaultTask, NULL, &defaultTask_attributes);

  /* USER CODE END RTOS_THREADS */

  /* Start scheduler */
  osKernelStart();

  /* We should never get here as control is now taken by the scheduler */

  /* Infinite loop */
  while (1)
  {

  }
}

void SystemClock_Config(void)
{
  RCC_OscInitTypeDef RCC_OscInitStruct = {0};
  RCC_ClkInitTypeDef RCC_ClkInitStruct = {0};

  /** Configure the main internal regulator output voltage
  */
  __HAL_RCC_PWR_CLK_ENABLE();
  __HAL_PWR_VOLTAGESCALING_CONFIG(PWR_REGULATOR_VOLTAGE_SCALE1);

  /** Initializes the RCC Oscillators according to the specified parameters
  * in the RCC_OscInitTypeDef structure.
  */
  RCC_OscInitStruct.OscillatorType = RCC_OSCILLATORTYPE_HSI;
  RCC_OscInitStruct.HSIState = RCC_HSI_ON;
  RCC_OscInitStruct.HSICalibrationValue = RCC_HSICALIBRATION_DEFAULT;
  RCC_OscInitStruct.PLL.PLLState = RCC_PLL_ON;
  RCC_OscInitStruct.PLL.PLLSource = RCC_PLLSOURCE_HSI;
  RCC_OscInitStruct.PLL.PLLM = 16;
  RCC_OscInitStruct.PLL.PLLN = 192;
  RCC_OscInitStruct.PLL.PLLP = RCC_PLLP_DIV2;
  RCC_OscInitStruct.PLL.PLLQ = 4;
  if (HAL_RCC_OscConfig(&RCC_OscInitStruct) != HAL_OK)
  {
    Error_Handler();
  }

  /** Initializes the CPU, AHB and APB buses clocks
  */
  RCC_ClkInitStruct.ClockType = RCC_CLOCKTYPE_HCLK|RCC_CLOCKTYPE_SYSCLK
                              |RCC_CLOCKTYPE_PCLK1|RCC_CLOCKTYPE_PCLK2;
  RCC_ClkInitStruct.SYSCLKSource = RCC_SYSCLKSOURCE_PLLCLK;
  RCC_ClkInitStruct.AHBCLKDivider = RCC_SYSCLK_DIV1;
  RCC_ClkInitStruct.APB1CLKDivider = RCC_HCLK_DIV2;
  RCC_ClkInitStruct.APB2CLKDivider = RCC_HCLK_DIV1;

  if (HAL_RCC_ClockConfig(&RCC_ClkInitStruct, FLASH_LATENCY_3) != HAL_OK)
  {
    Error_Handler();
  }
}

static void MX_ADC1_Init(void)
{

  ADC_ChannelConfTypeDef sConfig = {0};

  /** Configure the global features of the ADC (Clock, Resolution, Data Alignment and number of conversion)
  */
  hadc1.Instance = ADC1;
  hadc1.Init.ClockPrescaler = ADC_CLOCK_SYNC_PCLK_DIV4;
  hadc1.Init.Resolution = ADC_RESOLUTION_12B;
  hadc1.Init.ScanConvMode = ENABLE;
  hadc1.Init.ContinuousConvMode = ENABLE;
  hadc1.Init.DiscontinuousConvMode = DISABLE;
  hadc1.Init.ExternalTrigConvEdge = ADC_EXTERNALTRIGCONVEDGE_NONE;
  hadc1.Init.ExternalTrigConv = ADC_SOFTWARE_START;
  hadc1.Init.DataAlign = ADC_DATAALIGN_RIGHT;
  hadc1.Init.NbrOfConversion = 2;
  hadc1.Init.DMAContinuousRequests = ENABLE;
  hadc1.Init.EOCSelection = ADC_EOC_SINGLE_CONV;
  if (HAL_ADC_Init(&hadc1) != HAL_OK)
  {
    Error_Handler();
  }

  /** Configure for the selected ADC regular channel its corresponding rank in the sequencer and its sample time.
  */
  sConfig.Channel = ADC_CHANNEL_0;
  sConfig.Rank = 1;
  sConfig.SamplingTime = ADC_SAMPLETIME_480CYCLES;
  if (HAL_ADC_ConfigChannel(&hadc1, &sConfig) != HAL_OK)
  {
    Error_Handler();
  }

  /** Configure for the selected ADC regular channel its corresponding rank in the sequencer and its sample time.
  */
  sConfig.Channel = ADC_CHANNEL_1;
  sConfig.Rank = 2;
  if (HAL_ADC_ConfigChannel(&hadc1, &sConfig) != HAL_OK)
  {
    Error_Handler();
  }

}

static void MX_SPI1_Init(void)
{

  /* SPI1 parameter configuration*/
  hspi1.Instance = SPI1;
  hspi1.Init.Mode = SPI_MODE_MASTER;
  hspi1.Init.Direction = SPI_DIRECTION_2LINES;
  hspi1.Init.DataSize = SPI_DATASIZE_8BIT;
  hspi1.Init.CLKPolarity = SPI_POLARITY_LOW;
  hspi1.Init.CLKPhase = SPI_PHASE_1EDGE;
  hspi1.Init.NSS = SPI_NSS_SOFT;
  hspi1.Init.BaudRatePrescaler = SPI_BAUDRATEPRESCALER_8;
  hspi1.Init.FirstBit = SPI_FIRSTBIT_MSB;
  hspi1.Init.TIMode = SPI_TIMODE_DISABLE;
  hspi1.Init.CRCCalculation = SPI_CRCCALCULATION_DISABLE;
  hspi1.Init.CRCPolynomial = 10;
  if (HAL_SPI_Init(&hspi1) != HAL_OK)
  {
    Error_Handler();
  }

}

static void MX_DMA_Init(void)
{

  /* DMA controller clock enable */
  __HAL_RCC_DMA2_CLK_ENABLE();

  /* DMA interrupt init */
  /* DMA2_Stream0_IRQn interrupt configuration */
  HAL_NVIC_SetPriority(DMA2_Stream0_IRQn, 5, 0);
  HAL_NVIC_EnableIRQ(DMA2_Stream0_IRQn);

}

static void MX_GPIO_Init(void)
{
  GPIO_InitTypeDef GPIO_InitStruct = {0};

  /* GPIO Ports Clock Enable */
  __HAL_RCC_GPIOC_CLK_ENABLE();
  __HAL_RCC_GPIOH_CLK_ENABLE();
  __HAL_RCC_GPIOA_CLK_ENABLE();
  __HAL_RCC_GPIOB_CLK_ENABLE();

  /*Configure GPIO pin Output Level */
  HAL_GPIO_WritePin(LED_GPIO_Port, LED_Pin, GPIO_PIN_RESET);

  /*Configure GPIO pin Output Level */
  HAL_GPIO_WritePin(GPIOB, CS_Pin|RST_Pin|DC_Pin, GPIO_PIN_RESET);

  /*Configure GPIO pin : LED_Pin */
  GPIO_InitStruct.Pin = LED_Pin;
  GPIO_InitStruct.Mode = GPIO_MODE_OUTPUT_PP;
  GPIO_InitStruct.Pull = GPIO_NOPULL;
  GPIO_InitStruct.Speed = GPIO_SPEED_FREQ_LOW;
  HAL_GPIO_Init(LED_GPIO_Port, &GPIO_InitStruct);

  /*Configure GPIO pin : PC15 */
  GPIO_InitStruct.Pin = GPIO_PIN_15;
  GPIO_InitStruct.Mode = GPIO_MODE_INPUT;
  GPIO_InitStruct.Pull = GPIO_PULLUP;
  HAL_GPIO_Init(GPIOC, &GPIO_InitStruct);

  /*Configure GPIO pins : CS_Pin RST_Pin DC_Pin */
  GPIO_InitStruct.Pin = CS_Pin|RST_Pin|DC_Pin;
  GPIO_InitStruct.Mode = GPIO_MODE_OUTPUT_PP;
  GPIO_InitStruct.Pull = GPIO_NOPULL;
  GPIO_InitStruct.Speed = GPIO_SPEED_FREQ_LOW;
  HAL_GPIO_Init(GPIOB, &GPIO_InitStruct);

}

void StartDefaultTask(void *argument)
{
  /* USER CODE BEGIN 5 */
  /* Infinite loop */
	while(1)
	{
		  HAL_GPIO_TogglePin(LED_GPIO_Port, LED_Pin);
		  osDelay(200);
	}
  /* USER CODE END 5 */
}

void HAL_TIM_PeriodElapsedCallback(TIM_HandleTypeDef *htim)
{
  if (htim->Instance == TIM4) {
    HAL_IncTick();
  }
}

void Error_Handler(void)
{
  __disable_irq();
  while (1)
  {
  }
}
